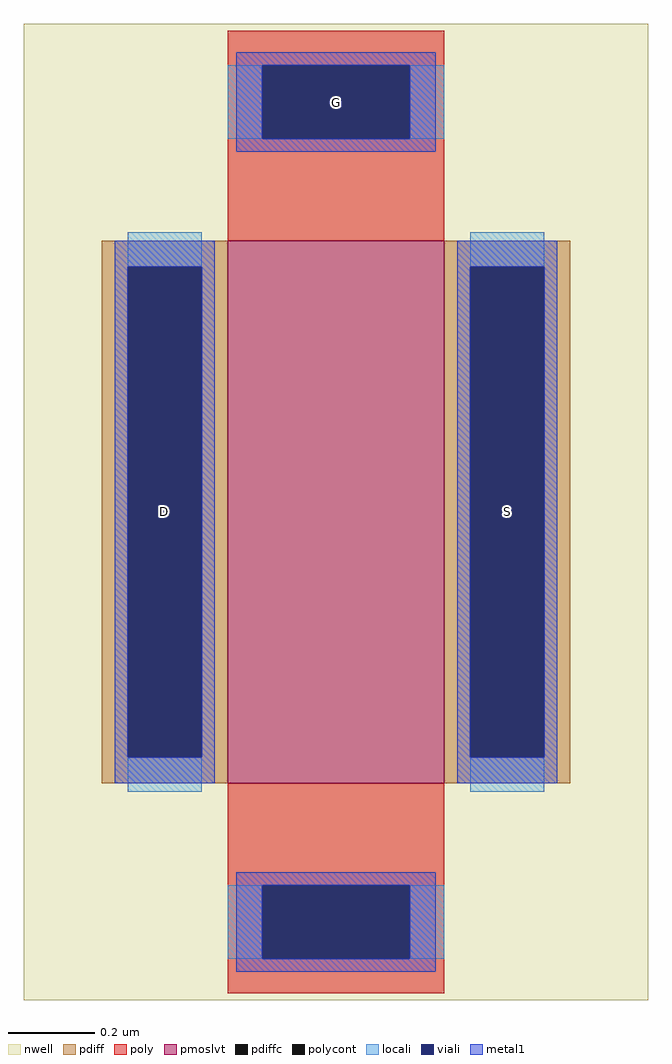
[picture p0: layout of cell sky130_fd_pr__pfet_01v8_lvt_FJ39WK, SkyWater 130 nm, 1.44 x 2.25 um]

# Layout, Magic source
magic
tech sky130A
magscale 1 2
<< nwell >>
rect -144 -225 144 225
<< pmoslvt >>
rect -50 -125 50 125
<< pdiff >>
rect -108 113 -50 125
rect -108 -113 -96 113
rect -62 -113 -50 113
rect -108 -125 -50 -113
rect 50 113 108 125
rect 50 -113 62 113
rect 96 -113 108 113
rect 50 -125 108 -113
<< pdiffc >>
rect -96 -113 -62 113
rect 62 -113 96 113
<< poly >>
rect -50 206 50 222
rect -50 172 -34 206
rect 34 172 50 206
rect -50 125 50 172
rect -50 -172 50 -125
rect -50 -206 -34 -172
rect 34 -206 50 -172
rect -50 -222 50 -206
<< polycont >>
rect -34 172 34 206
rect -34 -206 34 -172
<< locali >>
rect -50 172 -34 206
rect 34 172 50 206
rect -96 113 -62 129
rect -96 -129 -62 -113
rect 62 113 96 129
rect 62 -129 96 -113
rect -50 -206 -34 -172
rect 34 -206 50 -172
<< viali >>
rect -34 172 34 206
rect -96 -113 -62 113
rect 62 -113 96 113
rect -34 -206 34 -172
<< metal1 >>
rect -46 206 46 212
rect -46 172 -34 206
rect 34 172 46 206
rect -46 166 46 172
rect -102 113 -56 125
rect -102 -113 -96 113
rect -62 -113 -56 113
rect -102 -125 -56 -113
rect 56 113 102 125
rect 56 -113 62 113
rect 96 -113 102 113
rect 56 -125 102 -113
rect -46 -172 46 -166
rect -46 -206 -34 -172
rect 34 -206 46 -172
rect -46 -212 46 -206
<< labels >>
rlabel pdiffc -79 0 -79 0 0 D
port 7 nsew
rlabel pdiffc 79 0 79 0 0 S
port 8 nsew
rlabel polycont 0 189 0 189 0 G
port 9 nsew
<< properties >>
string gencell sky130_fd_pr__pfet_01v8_lvt
string library sky130
string parameters w 1.25 l 0.5 m 1 nf 1 diffcov 100 polycov 100 guard 0 glc 0 grc 0 gtc 0 gbc 0 tbcov 100 rlcov 100 topc 1 botc 1 poverlap 0 doverlap 1 lmin 0.35 wmin 0.42 class mosfet compatible {sky130_fd_pr__pfet_01v8  sky130_fd_pr__pfet_01v8_lvt sky130_fd_pr__pfet_01v8_hvt  sky130_fd_pr__pfet_g5v0d10v5} full_metal 0 conn_gates 0 viasrc 100 viadrn 100 viagate 100 viagb 0 viagr 0 viagl 0 viagt 0 doports 1
<< end >>
